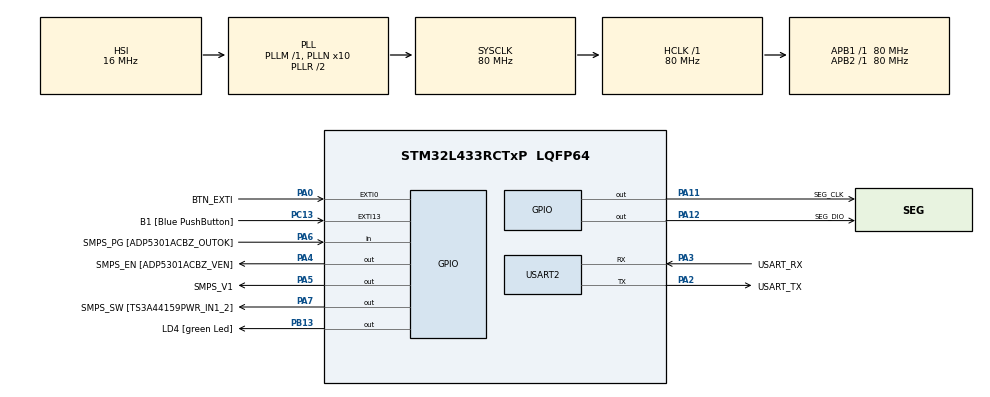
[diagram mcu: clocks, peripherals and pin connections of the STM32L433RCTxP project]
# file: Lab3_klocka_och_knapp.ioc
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Mcu.Family=STM32L4
Mcu.Name=STM32L433RCTxP
Mcu.Package=LQFP64
NVIC.EXTI0_IRQn=true\:0\:0\:false\:false\:true\:true\:true\:true
NVIC.PriorityGroup=NVIC_PRIORITYGROUP_4
NVIC.TIM2_IRQn=true\:0\:0\:false\:false\:true\:true\:true\:true
PA0.GPIO_Label=BTN_EXTI
PA0.GPIO_ModeDefaultEXTI=GPIO_MODE_IT_FALLING
PA0.Signal=GPXTI0
PA11.GPIO_Label=SEG_CLK
PA11.Signal=GPIO_Output
PA12.GPIO_Label=SEG_DIO
PA12.GPIO_ModeDefaultOutputPP=GPIO_MODE_OUTPUT_OD
PA12.GPIO_PuPd=GPIO_NOPULL
PA12.Signal=GPIO_Output
PA13\ (JTMS-SWDIO).GPIO_Label=TMS
PA13\ (JTMS-SWDIO).Mode=Serial_Wire
PA13\ (JTMS-SWDIO).Signal=SYS_JTMS-SWDIO
PA14\ (JTCK-SWCLK).GPIO_Label=TCK
PA14\ (JTCK-SWCLK).Mode=Serial_Wire
PA14\ (JTCK-SWCLK).Signal=SYS_JTCK-SWCLK
PA2.GPIO_Label=USART_TX
PA2.GPIO_Mode=GPIO_MODE_AF_PP
PA2.GPIO_PuPd=GPIO_NOPULL
PA2.GPIO_Speed=GPIO_SPEED_FREQ_VERY_HIGH
PA2.Mode=Asynchronous
PA2.Signal=USART2_TX
PA3.GPIO_Label=USART_RX
PA3.GPIO_Mode=GPIO_MODE_AF_PP
PA3.GPIO_PuPd=GPIO_NOPULL
PA3.GPIO_Speed=GPIO_SPEED_FREQ_VERY_HIGH
PA3.Mode=Asynchronous
PA3.Signal=USART2_RX
PA4.GPIO_Label=SMPS_EN [ADP5301ACBZ_VEN]
PA4.Signal=GPIO_Output
PA5.GPIO_Label=SMPS_V1
PA5.GPIO_ModeDefaultOutputPP=GPIO_MODE_OUTPUT_PP
PA5.GPIO_PuPd=GPIO_NOPULL
PA5.GPIO_Speed=GPIO_SPEED_FREQ_LOW
PA5.Signal=GPIO_Output
PA6.GPIO_Label=SMPS_PG [ADP5301ACBZ_OUTOK]
PA6.GPIO_PuPd=GPIO_PULLUP
PA6.Signal=GPIO_Input
PA7.GPIO_Label=SMPS_SW [TS3A44159PWR_IN1_2]
PA7.Signal=GPIO_Output
PB13.GPIO_Label=LD4 [green Led]
PB13.Signal=GPIO_Output
PB3\ (JTDO-TRACESWO).GPIO_Label=SWO
PB3\ (JTDO-TRACESWO).Signal=SYS_JTDO-SWO
PC13.GPIO_Label=B1 [Blue PushButton]
PC13.GPIO_ModeDefaultEXTI=GPIO_MODE_IT_FALLING
PC13.GPIO_PuPd=GPIO_NOPULL
PC13.Signal=GPXTI13
PC14-OSC32_IN\ (PC14).Mode=LSE-External-Oscillator
PC14-OSC32_IN\ (PC14).Signal=RCC_OSC32_IN
PC15-OSC32_OUT\ (PC15).Mode=LSE-External-Oscillator
PC15-OSC32_OUT\ (PC15).Signal=RCC_OSC32_OUT
PH0-OSC_IN\ (PH0).GPIO_Label=MCO
PH0-OSC_IN\ (PH0).Mode=HSE-External-Clock-Source
PH0-OSC_IN\ (PH0).Signal=RCC_OSC_IN
PH1-OSC_OUT\ (PH1).Signal=RCC_OSC_OUT
ProjectManager.HeapSize=0x200
ProjectManager.StackSize=0x400
ProjectManager.TargetToolchain=STM32CubeIDE
RCC.ADCFreq_Value=64000000
RCC.AHBFreq_Value=80000000
RCC.APB1Freq_Value=80000000
RCC.APB1TimFreq_Value=80000000
RCC.APB2Freq_Value=80000000
RCC.APB2TimFreq_Value=80000000
RCC.CortexFreq_Value=80000000
RCC.HCLKFreq_Value=80000000
RCC.HSE_VALUE=8000000
RCC.HSI48_VALUE=48000000
RCC.HSI_VALUE=16000000
RCC.MSI_VALUE=4000000
RCC.PLLN=10
RCC.PLLSourceVirtual=RCC_PLLSOURCE_HSI
RCC.PREFETCH_ENABLE=1
RCC.SYSCLKFreq_VALUE=80000000
RCC.SYSCLKSource=RCC_SYSCLKSOURCE_PLLCLK
RCC.USBFreq_Value=64000000
RCC.VCOOutputFreq_Value=160000000
TIM2.Period=9999
TIM2.Prescaler=3999
USART2.VirtualMode-Asynchronous=VM_ASYNC
VP_TIM2_VS_ClockSourceINT.Mode=Internal
board=NUCLEO-L433RC-P

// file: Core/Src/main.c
/* USER CODE BEGIN Header */
/**
  ******************************************************************************
  * @file           : main.c
  * @brief          : Main program body
  ******************************************************************************
  * @attention
  *
  * Copyright (c) 2025 STMicroelectronics.
  * All rights reserved.
  *
  * This software is licensed under terms that can be found in the LICENSE file
  * in the root directory of this software component.
  * If no LICENSE file comes with this software, it is provided AS-IS.
  *
  ******************************************************************************
  */
/* USER CODE END Header */
#include "main.h"

/* USER CODE BEGIN Includes */
#include "quad_sseg.h"
#include <string.h>
#include <stdio.h>

/* USER CODE END Includes */

TIM_HandleTypeDef htim2;

UART_HandleTypeDef huart2;

void SystemClock_Config(void);
static void MX_GPIO_Init(void);
static void MX_USART2_UART_Init(void);
static void MX_TIM2_Init(void);
/* USER CODE BEGIN PFP */
void uart_print_menu();
int uart_get_menu_choice();
void uart_print_bad_choice();

void button_mode();
void clock_mode();

volatile uint16_t button_exti_count = 0;      // antal flanker (inkl studs)
volatile uint32_t last_flank_time = 0;        // senaste tick då interrupt hände
volatile uint8_t  flank_pending = 0;          // flagga att vi väntar på debounce

volatile uint8_t last_tick = 0; 			  // sneste tick

volatile uint8_t seconds = 0;
volatile uint8_t minutes = 0;
volatile uint8_t hours = 0;
volatile uint8_t colon_on = 0;

uint16_t button_debounced_count = 0;          // riktiga knapptryck

void HAL_GPIO_EXTI_Callback(uint16_t GPIO_Pin);
void HAL_TIM_PeriodElapsedCallback(TIM_HandleTypeDef *htim);

/* USER CODE END PFP */

/* USER CODE BEGIN 0 */

void uart_print_menu()
{
  qs_put_digits(0, 0, 0, 0, 1);
  const char menu[] = "\r\nChoose a mode:\r\n1. Clock mode\r\n2. Button mode\r\n";
  HAL_UART_Transmit(&huart2, (uint8_t*)menu, strlen(menu), HAL_MAX_DELAY);
}

int uart_get_menu_choice(void)
{
    uint8_t ch;
    if (HAL_UART_Receive(&huart2, &ch, 1, HAL_MAX_DELAY) != HAL_OK)
        return -1;
    HAL_UART_Transmit(&huart2, &ch, 1, 10);
    if (ch >= '0' && ch <= '9')
        return (int)(ch - '0');
    return -1;
}

void uart_print_bad_choice()
{
  const char st[] = "\r\nInvalid choice. Try again.\r\n";
  HAL_UART_Transmit(&huart2, (uint8_t*)st, strlen(st), HAL_MAX_DELAY);
}

void HAL_GPIO_EXTI_Callback(uint16_t GPIO_Pin)
{
    if (GPIO_Pin == BTN_EXTI_Pin)
    {
        button_exti_count++;
        last_flank_time = HAL_GetTick();
        flank_pending = 1;
    }
}

void HAL_TIM_PeriodElapsedCallback(TIM_HandleTypeDef *htim)
{

  if (htim->Instance == TIM2)
  {

	colon_on = !colon_on;
	last_tick++;
	if (last_tick == 2) {
		last_tick = 0;

		seconds++;
		if (seconds > 59) {
			seconds = 0;
			minutes++;

		}
		  if (minutes > 59) {
			  minutes = 0;
		  	  hours ++;

		  }
			if (hours > 23) {
				hours = 0;
			}
		}
	}
}

#define BOUNCE_DELAY_MS 4

void button_mode()
{
	qs_put_big_num(0);

    while (1)
    {
        if (flank_pending)
        {
            uint32_t now = HAL_GetTick();
            if ((now - last_flank_time) >= BOUNCE_DELAY_MS)
            {
                int pressed = (HAL_GPIO_ReadPin(BTN_EXTI_GPIO_Port, BTN_EXTI_Pin) == GPIO_PIN_RESET);
                if (pressed)
                {
                    button_debounced_count++;
                }
                flank_pending = 0;
            }
        }

        if (HAL_GPIO_ReadPin(B1_GPIO_Port, B1_Pin) == GPIO_PIN_RESET)
        {
            qs_put_big_num(button_debounced_count);
        }
        else
        {
            qs_put_big_num(button_exti_count);
        }
    }
}

void clock_mode()
{

	seconds = 55;
	minutes = 59;
    hours =23;
	colon_on = 0;

  // räknar tiden
	HAL_TIM_Base_Start_IT(&htim2);
  while (1)
  {
    if (HAL_GPIO_ReadPin(B1_GPIO_Port, B1_Pin) == GPIO_PIN_SET)
    {
    	// visa hours och minutes
    	uint8_t s_hour_0 = hours / 10;
    	uint8_t s_hour_1 = hours % 10;
    	uint8_t s_mins_0 = minutes / 10;
    	uint8_t s_mins_1 = minutes % 10;

    	qs_put_digits(s_hour_0, s_hour_1, s_mins_0, s_mins_1, colon_on);
    }
    else
    {	// visa minutes och seconds
    	uint8_t s_mins_0 = minutes / 10;
  	  	uint8_t s_mins_1 = minutes % 10;
  	  	uint8_t s_sec_0	= seconds / 10;
		uint8_t s_sec_1 = seconds % 10;

    	qs_put_digits(s_mins_0, s_mins_1, s_sec_0, s_sec_1, colon_on);

    }
  }
}

/* USER CODE END 0 */

int main(void)
{

  /* MCU Configuration--------------------------------------------------------*/

  /* Reset of all peripherals, Initializes the Flash interface and the Systick. */
  HAL_Init();

  /* Configure the system clock */
  SystemClock_Config();

  /* Initialize all configured peripherals */
  MX_GPIO_Init();
  MX_USART2_UART_Init();
  MX_TIM2_Init();

  /* Infinite loop */
  /* USER CODE BEGIN WHILE */

  while (1)
  {
	  uart_print_menu();
	  int menu_choice = uart_get_menu_choice();

	  {
		  switch( menu_choice )
		  {
		  case 1:
			  clock_mode();
			  break;
		  case 2:
			  button_mode();
			  break;
		  default:
			  uart_print_bad_choice();
			  break;
		  }
	  }

    /* USER CODE END WHILE */

  }
}

void SystemClock_Config(void)
{
  RCC_OscInitTypeDef RCC_OscInitStruct = {0};
  RCC_ClkInitTypeDef RCC_ClkInitStruct = {0};

  /** Configure the main internal regulator output voltage
  */
  if (HAL_PWREx_ControlVoltageScaling(PWR_REGULATOR_VOLTAGE_SCALE1) != HAL_OK)
  {
    Error_Handler();
  }

  /** Initializes the RCC Oscillators according to the specified parameters
  * in the RCC_OscInitTypeDef structure.
  */
  RCC_OscInitStruct.OscillatorType = RCC_OSCILLATORTYPE_HSI;
  RCC_OscInitStruct.HSIState = RCC_HSI_ON;
  RCC_OscInitStruct.HSICalibrationValue = RCC_HSICALIBRATION_DEFAULT;
  RCC_OscInitStruct.PLL.PLLState = RCC_PLL_ON;
  RCC_OscInitStruct.PLL.PLLSource = RCC_PLLSOURCE_HSI;
  RCC_OscInitStruct.PLL.PLLM = 1;
  RCC_OscInitStruct.PLL.PLLN = 10;
  RCC_OscInitStruct.PLL.PLLP = RCC_PLLP_DIV7;
  RCC_OscInitStruct.PLL.PLLQ = RCC_PLLQ_DIV2;
  RCC_OscInitStruct.PLL.PLLR = RCC_PLLR_DIV2;
  if (HAL_RCC_OscConfig(&RCC_OscInitStruct) != HAL_OK)
  {
    Error_Handler();
  }

  /** Initializes the CPU, AHB and APB buses clocks
  */
  RCC_ClkInitStruct.ClockType = RCC_CLOCKTYPE_HCLK|RCC_CLOCKTYPE_SYSCLK
                              |RCC_CLOCKTYPE_PCLK1|RCC_CLOCKTYPE_PCLK2;
  RCC_ClkInitStruct.SYSCLKSource = RCC_SYSCLKSOURCE_PLLCLK;
  RCC_ClkInitStruct.AHBCLKDivider = RCC_SYSCLK_DIV1;
  RCC_ClkInitStruct.APB1CLKDivider = RCC_HCLK_DIV1;
  RCC_ClkInitStruct.APB2CLKDivider = RCC_HCLK_DIV1;

  if (HAL_RCC_ClockConfig(&RCC_ClkInitStruct, FLASH_LATENCY_4) != HAL_OK)
  {
    Error_Handler();
  }
}

static void MX_TIM2_Init(void)
{

  TIM_ClockConfigTypeDef sClockSourceConfig = {0};
  TIM_MasterConfigTypeDef sMasterConfig = {0};

  htim2.Instance = TIM2;
  htim2.Init.Prescaler = 3999;
  htim2.Init.CounterMode = TIM_COUNTERMODE_UP;
  htim2.Init.Period = 9999;
  htim2.Init.ClockDivision = TIM_CLOCKDIVISION_DIV1;
  htim2.Init.AutoReloadPreload = TIM_AUTORELOAD_PRELOAD_DISABLE;
  if (HAL_TIM_Base_Init(&htim2) != HAL_OK)
  {
    Error_Handler();
  }
  sClockSourceConfig.ClockSource = TIM_CLOCKSOURCE_INTERNAL;
  if (HAL_TIM_ConfigClockSource(&htim2, &sClockSourceConfig) != HAL_OK)
  {
    Error_Handler();
  }
  sMasterConfig.MasterOutputTrigger = TIM_TRGO_RESET;
  sMasterConfig.MasterSlaveMode = TIM_MASTERSLAVEMODE_DISABLE;
  if (HAL_TIMEx_MasterConfigSynchronization(&htim2, &sMasterConfig) != HAL_OK)
  {
    Error_Handler();
  }

}

static void MX_USART2_UART_Init(void)
{

  huart2.Instance = USART2;
  huart2.Init.BaudRate = 115200;
  huart2.Init.WordLength = UART_WORDLENGTH_8B;
  huart2.Init.StopBits = UART_STOPBITS_1;
  huart2.Init.Parity = UART_PARITY_NONE;
  huart2.Init.Mode = UART_MODE_TX_RX;
  huart2.Init.HwFlowCtl = UART_HWCONTROL_NONE;
  huart2.Init.OverSampling = UART_OVERSAMPLING_16;
  huart2.Init.OneBitSampling = UART_ONE_BIT_SAMPLE_DISABLE;
  huart2.AdvancedInit.AdvFeatureInit = UART_ADVFEATURE_NO_INIT;
  if (HAL_UART_Init(&huart2) != HAL_OK)
  {
    Error_Handler();
  }

}

static void MX_GPIO_Init(void)
{
  GPIO_InitTypeDef GPIO_InitStruct = {0};

  /* GPIO Ports Clock Enable */
  __HAL_RCC_GPIOC_CLK_ENABLE();
  __HAL_RCC_GPIOH_CLK_ENABLE();
  __HAL_RCC_GPIOA_CLK_ENABLE();
  __HAL_RCC_GPIOB_CLK_ENABLE();

  /*Configure GPIO pin Output Level */
  HAL_GPIO_WritePin(GPIOA, SMPS_EN_Pin|SMPS_V1_Pin|SMPS_SW_Pin|SEG_CLK_Pin
                          |SEG_DIO_Pin, GPIO_PIN_RESET);

  /*Configure GPIO pin Output Level */
  HAL_GPIO_WritePin(LD4_GPIO_Port, LD4_Pin, GPIO_PIN_RESET);

  /*Configure GPIO pin : B1_Pin */
  GPIO_InitStruct.Pin = B1_Pin;
  GPIO_InitStruct.Mode = GPIO_MODE_IT_FALLING;
  GPIO_InitStruct.Pull = GPIO_NOPULL;
  HAL_GPIO_Init(B1_GPIO_Port, &GPIO_InitStruct);

  /*Configure GPIO pin : BTN_EXTI_Pin */
  GPIO_InitStruct.Pin = BTN_EXTI_Pin;
  GPIO_InitStruct.Mode = GPIO_MODE_IT_FALLING;
  GPIO_InitStruct.Pull = GPIO_NOPULL;
  HAL_GPIO_Init(BTN_EXTI_GPIO_Port, &GPIO_InitStruct);

  /*Configure GPIO pins : SMPS_EN_Pin SMPS_V1_Pin SMPS_SW_Pin SEG_CLK_Pin */
  GPIO_InitStruct.Pin = SMPS_EN_Pin|SMPS_V1_Pin|SMPS_SW_Pin|SEG_CLK_Pin;
  GPIO_InitStruct.Mode = GPIO_MODE_OUTPUT_PP;
  GPIO_InitStruct.Pull = GPIO_NOPULL;
  GPIO_InitStruct.Speed = GPIO_SPEED_FREQ_LOW;
  HAL_GPIO_Init(GPIOA, &GPIO_InitStruct);

  /*Configure GPIO pin : SMPS_PG_Pin */
  GPIO_InitStruct.Pin = SMPS_PG_Pin;
  GPIO_InitStruct.Mode = GPIO_MODE_INPUT;
  GPIO_InitStruct.Pull = GPIO_PULLUP;
  HAL_GPIO_Init(SMPS_PG_GPIO_Port, &GPIO_InitStruct);

  /*Configure GPIO pin : LD4_Pin */
  GPIO_InitStruct.Pin = LD4_Pin;
  GPIO_InitStruct.Mode = GPIO_MODE_OUTPUT_PP;
  GPIO_InitStruct.Pull = GPIO_NOPULL;
  GPIO_InitStruct.Speed = GPIO_SPEED_FREQ_LOW;
  HAL_GPIO_Init(LD4_GPIO_Port, &GPIO_InitStruct);

  /*Configure GPIO pin : SEG_DIO_Pin */
  GPIO_InitStruct.Pin = SEG_DIO_Pin;
  GPIO_InitStruct.Mode = GPIO_MODE_OUTPUT_OD;
  GPIO_InitStruct.Pull = GPIO_NOPULL;
  GPIO_InitStruct.Speed = GPIO_SPEED_FREQ_LOW;
  HAL_GPIO_Init(SEG_DIO_GPIO_Port, &GPIO_InitStruct);

  /* EXTI interrupt init*/
  HAL_NVIC_SetPriority(EXTI0_IRQn, 0, 0);
  HAL_NVIC_EnableIRQ(EXTI0_IRQn);

}

void Error_Handler(void)
{
  __disable_irq();
  while (1)
  {
  }
}
